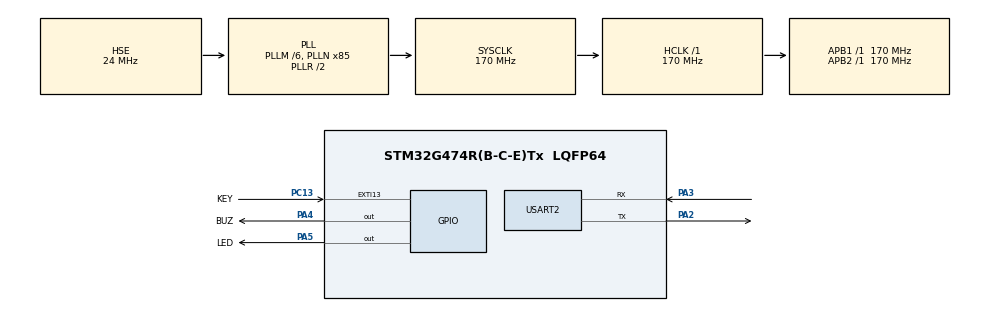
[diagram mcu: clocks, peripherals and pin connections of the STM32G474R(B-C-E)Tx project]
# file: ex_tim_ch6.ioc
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Mcu.Family=STM32G4
RCC.PLLSourceVirtual=RCC_PLLSOURCE_HSE
PA2.GPIO_PuPd=GPIO_PULLUP
RCC.CortexFreq_Value=170000000
TIM3.AutoReloadPreload=TIM_AUTORELOAD_PRELOAD_ENABLE
PC13.Signal=GPXTI13
PA3.GPIO_PuPd=GPIO_PULLUP
RCC.EXTERNAL_CLOCK_VALUE=12288000
PC13.GPIO_Label=KEY
PA5.PinState=GPIO_PIN_SET
NVIC.USART2_IRQn=true\:1\:0\:true\:false\:true\:true\:true
RCC.SYSCLKSource=RCC_SYSCLKSOURCE_PLLCLK
ProjectManager.StackSize=0x400
PA13.Signal=SYS_JTMS-SWDIO
PA3.Mode=Asynchronous
PA4.PinState=GPIO_PIN_SET
ProjectManager.TargetToolchain=STM32CubeIDE
RCC.HCLKFreq_Value=170000000
RCC.APB2TimFreq_Value=170000000
RCC.USBFreq_Value=170000000
RCC.LSE_VALUE=32768
RCC.AHBFreq_Value=170000000
PF0-OSC_IN.Mode=HSE-External-Oscillator
NVIC.EXTI15_10_IRQn=true\:4\:0\:true\:false\:true\:true\:true
PA5.Signal=GPIO_Output
RCC.HSE_VALUE=24000000
PA4.GPIO_PuPd=GPIO_PULLUP
board=custom
USART2.VirtualMode-Asynchronous=VM_ASYNC
RCC.VCOOutputFreq_Value=340000000
RCC.ADC12Freq_Value=170000000
PA4.GPIO_Speed=GPIO_SPEED_FREQ_HIGH
NVIC.TIM3_IRQn=true\:1\:0\:true\:false\:true\:true\:true
RCC.ADC345Freq_Value=170000000
RCC.APB2Freq_Value=170000000
PA14.Mode=Serial_Wire
TIM3.Prescaler=9
PA5.GPIO_PuPd=GPIO_PULLUP
PC13.GPIO_PuPd=GPIO_PULLDOWN
VP_SYS_VS_DBSignals.Mode=DisableDeadBatterySignals
PA13.Mode=Serial_Wire
Mcu.Name=STM32G474R(B-C-E)Tx
PA2.Signal=USART2_TX
PA4.Signal=GPIO_Output
RCC.SYSCLKFreq_VALUE=170000000
Mcu.Package=LQFP64
PA5.GPIO_Label=LED
PA14.Signal=SYS_JTCK-SWCLK
ProjectManager.HeapSize=0x200
TIM3.PeriodNoDither=16999
RCC.HSI_VALUE=16000000
PA5.GPIO_Speed=GPIO_SPEED_FREQ_HIGH
NVIC.PriorityGroup=NVIC_PRIORITYGROUP_4
RCC.PLLM=RCC_PLLM_DIV6
RCC.PLLN=85
RCC.APB1TimFreq_Value=170000000
PA2.Mode=Asynchronous
PF0-OSC_IN.Signal=RCC_OSC_IN
PF1-OSC_OUT.Mode=HSE-External-Oscillator
RCC.APB1Freq_Value=170000000
PA4.GPIO_Label=BUZ
VP_TIM3_VS_ClockSourceINT.Mode=Internal
PF1-OSC_OUT.Signal=RCC_OSC_OUT
RCC.HSI48_VALUE=48000000
PA3.Signal=USART2_RX

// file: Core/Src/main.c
/* USER CODE BEGIN Header */
/**
  ******************************************************************************
  * @file           : main.c
  * @brief          : Main program body
  ******************************************************************************
  * @attention
  *
  * <h2><center>&copy; Copyright (c) 2022 STMicroelectronics.
  * All rights reserved.</center></h2>
  *
  * This software component is licensed by ST under BSD 3-Clause license,
  * the "License"; You may not use this file except in compliance with the
  * License. You may obtain a copy of the License at:
  *                        opensource.org/licenses/BSD-3-Clause
  *
  ******************************************************************************
  */
/* USER CODE END Header */
#include "main.h"

/* USER CODE BEGIN Includes */
#include "stdio.h"
#include "stdlib.h"

/* USER CODE END Includes */

/* USER CODE BEGIN PD */
#define RXBUFFERSIZE 3
/* USER CODE END PD */

TIM_HandleTypeDef htim3;

UART_HandleTypeDef huart2;

/* USER CODE BEGIN PV */
uint8_t CommOkMessage[] = "Everything is OK\r\n";
uint8_t CommErrMessage[] = "Received Error Data\r\n";
uint8_t CommFlag = 0;
uint8_t RxBuffer[RXBUFFERSIZE] = {0};

// 6.3
uint32_t cnt_tim_iterrupt = 0;
uint32_t cnt_second = 0;
uint32_t num_div = 1; //if num_div = 0
uint32_t freq = 0;
/* USER CODE END PV */

void SystemClock_Config(void);
static void MX_GPIO_Init(void);
static void MX_TIM3_Init(void);
static void MX_USART2_UART_Init(void);

int main(void)
{

  /* MCU Configuration--------------------------------------------------------*/

  /* Reset of all peripherals, Initializes the Flash interface and the Systick. */
  HAL_Init();

  /* Configure the system clock */
  SystemClock_Config();

  /* Initialize all configured peripherals */
  MX_GPIO_Init();
  MX_TIM3_Init();
  MX_USART2_UART_Init();
  /* USER CODE BEGIN 2 */
  HAL_TIM_Base_Start_IT(&htim3);
  HAL_UART_Receive_IT(&huart2, (uint8_t *)RxBuffer, RXBUFFERSIZE);
  printf("start timing\r\n");
  /* USER CODE END 2 */

  /* Infinite loop */
  while (1)
  {

    /* USER CODE BEGIN 3 */
	  // 6.1 Prescaler = 19999, 9999

	  // 6.2

	  // 6.3
//	  if ((RxBuffer[0] == 0x53)&&(RxBuffer[2] == 0x45)&&(CommFlag == 1))
//	  {
//		  CommFlag = 0;
//		  num_div = (uint32_t)RxBuffer[1] * 10;
//
//		  freq = 1000000 / num_div;
//		  printf("interrupt in %lu.%lu Hz frequency\r\n", freq /1000,  freq % 1000);
//		  printf("flash in %lu.%lu Hz frequency\r\n", freq / 2000, freq / 2 % 1000);
//	  }
//
//	  if (cnt_tim_iterrupt == 0){
//		  HAL_GPIO_TogglePin(LED_GPIO_Port, LED_Pin);
//	  }
	  //	  htim3.Init.Prescaler = 5000; useless

	  // 6.4

  }
  /* USER CODE END 3 */
}

void SystemClock_Config(void)
{
  RCC_OscInitTypeDef RCC_OscInitStruct = {0};
  RCC_ClkInitTypeDef RCC_ClkInitStruct = {0};
  RCC_PeriphCLKInitTypeDef PeriphClkInit = {0};

  /** Configure the main internal regulator output voltage
  */
  HAL_PWREx_ControlVoltageScaling(PWR_REGULATOR_VOLTAGE_SCALE1_BOOST);
  /** Initializes the RCC Oscillators according to the specified parameters
  * in the RCC_OscInitTypeDef structure.
  */
  RCC_OscInitStruct.OscillatorType = RCC_OSCILLATORTYPE_HSE;
  RCC_OscInitStruct.HSEState = RCC_HSE_ON;
  RCC_OscInitStruct.PLL.PLLState = RCC_PLL_ON;
  RCC_OscInitStruct.PLL.PLLSource = RCC_PLLSOURCE_HSE;
  RCC_OscInitStruct.PLL.PLLM = RCC_PLLM_DIV6;
  RCC_OscInitStruct.PLL.PLLN = 85;
  RCC_OscInitStruct.PLL.PLLP = RCC_PLLP_DIV2;
  RCC_OscInitStruct.PLL.PLLQ = RCC_PLLQ_DIV2;
  RCC_OscInitStruct.PLL.PLLR = RCC_PLLR_DIV2;
  if (HAL_RCC_OscConfig(&RCC_OscInitStruct) != HAL_OK)
  {
    Error_Handler();
  }
  /** Initializes the CPU, AHB and APB buses clocks
  */
  RCC_ClkInitStruct.ClockType = RCC_CLOCKTYPE_HCLK|RCC_CLOCKTYPE_SYSCLK
                              |RCC_CLOCKTYPE_PCLK1|RCC_CLOCKTYPE_PCLK2;
  RCC_ClkInitStruct.SYSCLKSource = RCC_SYSCLKSOURCE_PLLCLK;
  RCC_ClkInitStruct.AHBCLKDivider = RCC_SYSCLK_DIV1;
  RCC_ClkInitStruct.APB1CLKDivider = RCC_HCLK_DIV1;
  RCC_ClkInitStruct.APB2CLKDivider = RCC_HCLK_DIV1;

  if (HAL_RCC_ClockConfig(&RCC_ClkInitStruct, FLASH_LATENCY_4) != HAL_OK)
  {
    Error_Handler();
  }
  /** Initializes the peripherals clocks
  */
  PeriphClkInit.PeriphClockSelection = RCC_PERIPHCLK_USART2;
  PeriphClkInit.Usart2ClockSelection = RCC_USART2CLKSOURCE_PCLK1;
  if (HAL_RCCEx_PeriphCLKConfig(&PeriphClkInit) != HAL_OK)
  {
    Error_Handler();
  }
}

static void MX_TIM3_Init(void)
{

  TIM_ClockConfigTypeDef sClockSourceConfig = {0};
  TIM_MasterConfigTypeDef sMasterConfig = {0};

  htim3.Instance = TIM3;
  htim3.Init.Prescaler = 9;
  htim3.Init.CounterMode = TIM_COUNTERMODE_UP;
  htim3.Init.Period = 16999;
  htim3.Init.ClockDivision = TIM_CLOCKDIVISION_DIV1;
  htim3.Init.AutoReloadPreload = TIM_AUTORELOAD_PRELOAD_ENABLE;
  if (HAL_TIM_Base_Init(&htim3) != HAL_OK)
  {
    Error_Handler();
  }
  sClockSourceConfig.ClockSource = TIM_CLOCKSOURCE_INTERNAL;
  if (HAL_TIM_ConfigClockSource(&htim3, &sClockSourceConfig) != HAL_OK)
  {
    Error_Handler();
  }
  sMasterConfig.MasterOutputTrigger = TIM_TRGO_RESET;
  sMasterConfig.MasterSlaveMode = TIM_MASTERSLAVEMODE_DISABLE;
  if (HAL_TIMEx_MasterConfigSynchronization(&htim3, &sMasterConfig) != HAL_OK)
  {
    Error_Handler();
  }

}

static void MX_USART2_UART_Init(void)
{

  huart2.Instance = USART2;
  huart2.Init.BaudRate = 115200;
  huart2.Init.WordLength = UART_WORDLENGTH_8B;
  huart2.Init.StopBits = UART_STOPBITS_1;
  huart2.Init.Parity = UART_PARITY_NONE;
  huart2.Init.Mode = UART_MODE_TX_RX;
  huart2.Init.HwFlowCtl = UART_HWCONTROL_NONE;
  huart2.Init.OverSampling = UART_OVERSAMPLING_16;
  huart2.Init.OneBitSampling = UART_ONE_BIT_SAMPLE_DISABLE;
  huart2.Init.ClockPrescaler = UART_PRESCALER_DIV1;
  huart2.AdvancedInit.AdvFeatureInit = UART_ADVFEATURE_NO_INIT;
  if (HAL_UART_Init(&huart2) != HAL_OK)
  {
    Error_Handler();
  }
  if (HAL_UARTEx_SetTxFifoThreshold(&huart2, UART_TXFIFO_THRESHOLD_1_8) != HAL_OK)
  {
    Error_Handler();
  }
  if (HAL_UARTEx_SetRxFifoThreshold(&huart2, UART_RXFIFO_THRESHOLD_1_8) != HAL_OK)
  {
    Error_Handler();
  }
  if (HAL_UARTEx_DisableFifoMode(&huart2) != HAL_OK)
  {
    Error_Handler();
  }

}

static void MX_GPIO_Init(void)
{
  GPIO_InitTypeDef GPIO_InitStruct = {0};

  /* GPIO Ports Clock Enable */
  __HAL_RCC_GPIOC_CLK_ENABLE();
  __HAL_RCC_GPIOF_CLK_ENABLE();
  __HAL_RCC_GPIOA_CLK_ENABLE();

  /*Configure GPIO pin Output Level */
  HAL_GPIO_WritePin(GPIOA, BUZ_Pin|LED_Pin, GPIO_PIN_SET);

  /*Configure GPIO pin : KEY_Pin */
  GPIO_InitStruct.Pin = KEY_Pin;
  GPIO_InitStruct.Mode = GPIO_MODE_IT_RISING;
  GPIO_InitStruct.Pull = GPIO_PULLDOWN;
  HAL_GPIO_Init(KEY_GPIO_Port, &GPIO_InitStruct);

  /*Configure GPIO pins : BUZ_Pin LED_Pin */
  GPIO_InitStruct.Pin = BUZ_Pin|LED_Pin;
  GPIO_InitStruct.Mode = GPIO_MODE_OUTPUT_PP;
  GPIO_InitStruct.Pull = GPIO_PULLUP;
  GPIO_InitStruct.Speed = GPIO_SPEED_FREQ_HIGH;
  HAL_GPIO_Init(GPIOA, &GPIO_InitStruct);

  /* EXTI interrupt init*/
  HAL_NVIC_SetPriority(EXTI15_10_IRQn, 4, 0);
  HAL_NVIC_EnableIRQ(EXTI15_10_IRQn);

}

/*****************************************/

/* USER CODE BEGIN 4 */
void HAL_TIM_PeriodElapsedCallback(TIM_HandleTypeDef *htim)
{
//	HAL_GPIO_TogglePin(LED_GPIO_Port, LED_Pin);

	// 6.3
//	cnt_tim_iterrupt = (cnt_tim_iterrupt + 1) % num_div;
//	if (cnt_tim_iterrupt == 0){
//		HAL_GPIO_TogglePin(LED_GPIO_Port, LED_Pin);
//	}

	//
	if (cnt_tim_iterrupt == 999){
		cnt_second = cnt_second + 1;
	}
	cnt_tim_iterrupt = (cnt_tim_iterrupt + 1) % 1000;

}

void HAL_UART_RxCpltCallback(UART_HandleTypeDef *huart)
{
	CommFlag = 1;
	HAL_UART_Receive_IT(&huart2, (uint8_t *)RxBuffer, RXBUFFERSIZE);
}

void HAL_GPIO_EXTI_Callback(uint16_t GPIO_Pin)
{
	HAL_Delay(10);
	if (GPIO_Pin == KEY_Pin)
	{
		printf("press button at %d.%d s\r\n", (int)cnt_second, (int)cnt_tim_iterrupt);
	}
}

int __io_putchar(int ch)
{
	HAL_UART_Transmit(&huart2, (uint8_t *)&ch, 1, 0xFFFF);
	return ch;
}

/* USER CODE END 4 */

void Error_Handler(void)
{
  __disable_irq();
  while (1)
  {
  }
}

/************************ (C) COPYRIGHT STMicroelectronics *****END OF FILE****/
